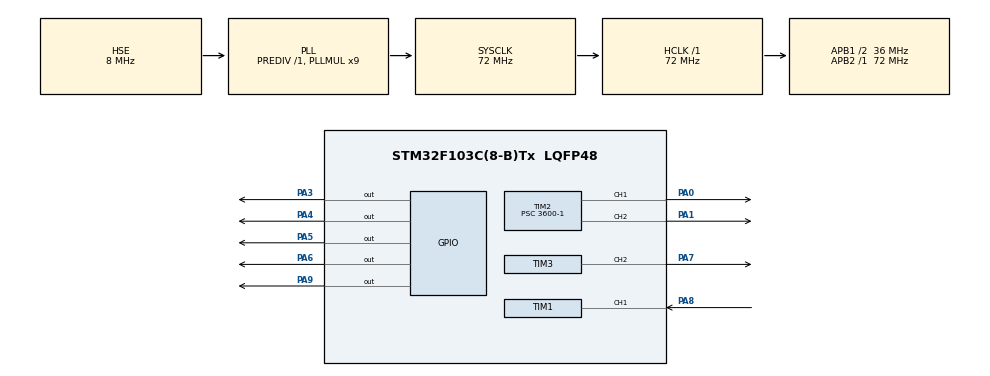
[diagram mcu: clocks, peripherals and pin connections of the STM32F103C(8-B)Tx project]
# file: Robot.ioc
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Mcu.Family=STM32F1
Mcu.Name=STM32F103C(8-B)Tx
Mcu.Package=LQFP48
NVIC.PriorityGroup=NVIC_PRIORITYGROUP_4
NVIC.TIM1_CC_IRQn=true\:0\:0\:true\:false\:true\:true\:true\:true
NVIC.TIM2_IRQn=true\:2\:0\:true\:false\:true\:true\:true\:true
NVIC.TIM3_IRQn=true\:3\:0\:true\:false\:true\:true\:true\:true
PA0-WKUP.Signal=S_TIM2_CH1_ETR
PA1.Signal=S_TIM2_CH2
PA13.Mode=Serial_Wire
PA13.Signal=SYS_JTMS-SWDIO
PA14.Mode=Serial_Wire
PA14.Signal=SYS_JTCK-SWCLK
PA3.Signal=GPIO_Output
PA4.Signal=GPIO_Output
PA5.Signal=GPIO_Output
PA6.Signal=GPIO_Output
PA7.Signal=S_TIM3_CH2
PA8.Signal=S_TIM1_CH1
PA9.Signal=GPIO_Output
PD0-OSC_IN.Mode=HSE-External-Oscillator
PD0-OSC_IN.Signal=RCC_OSC_IN
PD1-OSC_OUT.Mode=HSE-External-Oscillator
PD1-OSC_OUT.Signal=RCC_OSC_OUT
ProjectManager.HeapSize=0x200
ProjectManager.StackSize=0x400
ProjectManager.TargetToolchain=MDK-ARM V5.32
RCC.AHBFreq_Value=72000000
RCC.APB1CLKDivider=RCC_HCLK_DIV2
RCC.APB1Freq_Value=36000000
RCC.APB1TimFreq_Value=72000000
RCC.APB2Freq_Value=72000000
RCC.APB2TimFreq_Value=72000000
RCC.HCLKFreq_Value=72000000
RCC.PLLMUL=RCC_PLL_MUL9
RCC.PLLSourceVirtual=RCC_PLLSOURCE_HSE
RCC.SYSCLKFreq_VALUE=72000000
RCC.SYSCLKSource=RCC_SYSCLKSOURCE_PLLCLK
RCC.USBFreq_Value=72000000
SH.S_TIM1_CH1.0=TIM1_CH1,Input_Capture1_from_TI1
SH.S_TIM2_CH1_ETR.0=TIM2_CH1,PWM Generation1 CH1
SH.S_TIM2_CH2.0=TIM2_CH2,PWM Generation2 CH2
SH.S_TIM3_CH2.0=TIM3_CH2,PWM Generation2 CH2
TIM1.Channel-Input_Capture1_from_TI1=TIM_CHANNEL_1
TIM1.Period=0xffff-1
TIM1.Prescaler=72-1
TIM2.Channel-PWM\ Generation1\ CH1=TIM_CHANNEL_1
TIM2.Channel-PWM\ Generation2\ CH2=TIM_CHANNEL_2
TIM2.Period=1000-1
TIM2.Prescaler=3600-1
TIM2.Pulse-PWM\ Generation1\ CH1=0
TIM3.Channel-PWM\ Generation2\ CH2=TIM_CHANNEL_2
TIM3.Period=4499
TIM3.Prescaler=320
VP_TIM1_VS_ClockSourceINT.Mode=Internal
VP_TIM2_VS_ClockSourceINT.Mode=Internal
VP_TIM3_VS_ClockSourceINT.Mode=Internal
board=custom

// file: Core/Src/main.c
/* USER CODE BEGIN Header */
/**
  ******************************************************************************
  * @file           : main.c
  * @brief          : Main program body
  ******************************************************************************
  * @attention
  *
  * Copyright (c) 2023 STMicroelectronics.
  * All rights reserved.
  *
  * This software is licensed under terms that can be found in the LICENSE file
  * in the root directory of this software component.
  * If no LICENSE file comes with this software, it is provided AS-IS.
  *
  ******************************************************************************
  */
/* USER CODE END Header */
#include "main.h"

TIM_HandleTypeDef htim1;
TIM_HandleTypeDef htim2;
TIM_HandleTypeDef htim3;

void SystemClock_Config(void);
static void MX_GPIO_Init(void);
static void MX_TIM1_Init(void);
static void MX_TIM2_Init(void);
static void MX_TIM3_Init(void);
void delay (uint16_t time)
{
	__HAL_TIM_SET_COUNTER(&htim1, 0);
	while (__HAL_TIM_GET_COUNTER (&htim1) < time);
}

uint32_t IC_Val1 = 0;
uint32_t IC_Val2 = 0;
uint32_t Difference = 0;
uint8_t Is_First_Captured = 0;  // is the first value captured ?
uint8_t Distance  = 0;
char dist[10];

#define TRIG_PIN GPIO_PIN_9
#define TRIG_PORT GPIOA

// Let's write the callback function

void HAL_TIM_IC_CaptureCallback(TIM_HandleTypeDef *htim)
{
	if (htim->Channel == HAL_TIM_ACTIVE_CHANNEL_1)  // if the interrupt source is channel1
	{
		if (Is_First_Captured==0) // if the first value is not captured
		{
			IC_Val1 = HAL_TIM_ReadCapturedValue(htim, TIM_CHANNEL_1); // read the first value
			Is_First_Captured = 1;  // set the first captured as true
			// Now change the polarity to falling edge
			__HAL_TIM_SET_CAPTUREPOLARITY(htim, TIM_CHANNEL_1, TIM_INPUTCHANNELPOLARITY_FALLING);
		}

		else if (Is_First_Captured==1)   // if the first is already captured
		{
			IC_Val2 = HAL_TIM_ReadCapturedValue(htim, TIM_CHANNEL_1);  // read second value
			__HAL_TIM_SET_COUNTER(htim, 0);  // reset the counter

			if (IC_Val2 > IC_Val1)
			{
				Difference = IC_Val2-IC_Val1;
			}

			else if (IC_Val1 > IC_Val2)
			{
				Difference = (0xffff - IC_Val1) + IC_Val2;
			}

			Distance = Difference * .034/2;
			Is_First_Captured = 0; // set it back to false

			// set polarity to rising edge
			__HAL_TIM_SET_CAPTUREPOLARITY(htim, TIM_CHANNEL_1, TIM_INPUTCHANNELPOLARITY_RISING);
			__HAL_TIM_DISABLE_IT(&htim1, TIM_IT_CC1);
		}
	}
}

uint8_t HCSR05_Read (void)
{
	HAL_GPIO_WritePin(TRIG_PORT, TRIG_PIN, GPIO_PIN_SET);  // pull the TRIG pin HIGH
	delay(10);  // wait for 10 us
	HAL_GPIO_WritePin(TRIG_PORT, TRIG_PIN, GPIO_PIN_RESET);  // pull the TRIG pin low

	__HAL_TIM_ENABLE_IT(&htim1, TIM_IT_CC1);
	return Distance;
}

uint8_t Max_dist = 150;

#define MOTOR_ENB_PIN   GPIO_PIN_0
#define MOTOR_ENB_PORT  GPIOA
#define MOTOR_ENA_PIN   GPIO_PIN_1
#define MOTOR_ENA_PORT  GPIOA
#define IN1_PIN GPIO_PIN_3
#define IN1_PORT GPIOA
#define IN2_PIN GPIO_PIN_4
#define IN2_PORT GPIOA
#define IN3_PIN GPIO_PIN_5
#define IN3_PORT GPIOA
#define IN4_PIN GPIO_PIN_6
#define IN4_PORT GPIOA

void Motor_Stop(void) {
    HAL_GPIO_WritePin(IN1_PORT, IN1_PIN, GPIO_PIN_RESET);
    HAL_GPIO_WritePin(IN2_PORT, IN2_PIN, GPIO_PIN_RESET);
    HAL_GPIO_WritePin(IN3_PORT, IN3_PIN, GPIO_PIN_RESET);
    HAL_GPIO_WritePin(IN4_PORT, IN4_PIN, GPIO_PIN_RESET);
}

// Hàm di?u khi?n d?ng co ti?n
void Motor_Forward(uint16_t speed) {
    HAL_GPIO_WritePin(IN1_PORT, IN1_PIN, GPIO_PIN_SET);
    HAL_GPIO_WritePin(IN2_PORT, IN2_PIN, GPIO_PIN_RESET);
    HAL_GPIO_WritePin(IN3_PORT, IN3_PIN, GPIO_PIN_RESET);
    HAL_GPIO_WritePin(IN4_PORT, IN4_PIN, GPIO_PIN_SET);
    __HAL_TIM_SET_COMPARE(&htim2, TIM_CHANNEL_1, speed);
    __HAL_TIM_SET_COMPARE(&htim2, TIM_CHANNEL_2, speed);
}

// Hàm dieu khien dong co lùi
void Motor_Reverse(uint16_t speed) {
    HAL_GPIO_WritePin(IN1_PORT, IN1_PIN, GPIO_PIN_RESET);
    HAL_GPIO_WritePin(IN2_PORT, IN2_PIN, GPIO_PIN_SET);
    HAL_GPIO_WritePin(IN3_PORT, IN3_PIN, GPIO_PIN_SET);
    HAL_GPIO_WritePin(IN4_PORT, IN4_PIN, GPIO_PIN_RESET);
    __HAL_TIM_SET_COMPARE(&htim2, TIM_CHANNEL_1, speed);
    __HAL_TIM_SET_COMPARE(&htim2, TIM_CHANNEL_2, speed);
}

// Hàm di?u khi?n d?ng co quay trái
void Motor_Left(uint16_t speed) {
	  __HAL_TIM_SET_COMPARE(&htim2, TIM_CHANNEL_1, 600);
    __HAL_TIM_SET_COMPARE(&htim2, TIM_CHANNEL_2, 1000);

    HAL_GPIO_WritePin(IN1_PORT, IN1_PIN, GPIO_PIN_RESET);
    HAL_GPIO_WritePin(IN2_PORT, IN2_PIN, GPIO_PIN_SET);
    HAL_GPIO_WritePin(IN3_PORT, IN3_PIN, GPIO_PIN_RESET);
    HAL_GPIO_WritePin(IN4_PORT, IN4_PIN, GPIO_PIN_SET);

	  HAL_Delay(650);
	 __HAL_TIM_SET_COMPARE(&htim2, TIM_CHANNEL_1, speed);
   __HAL_TIM_SET_COMPARE(&htim2, TIM_CHANNEL_2, speed);

	  HAL_GPIO_WritePin(IN1_PORT, IN1_PIN, GPIO_PIN_SET);
    HAL_GPIO_WritePin(IN2_PORT, IN2_PIN, GPIO_PIN_RESET);
    HAL_GPIO_WritePin(IN3_PORT, IN3_PIN, GPIO_PIN_RESET);
    HAL_GPIO_WritePin(IN4_PORT, IN4_PIN, GPIO_PIN_SET);
}

// Hàm di?u khi?n d?ng co quay ph?i
void Motor_Right(uint16_t speed) {
	  __HAL_TIM_SET_COMPARE(&htim2, TIM_CHANNEL_1, 1000);
    __HAL_TIM_SET_COMPARE(&htim2, TIM_CHANNEL_2, 600);

    HAL_GPIO_WritePin(IN1_PORT, IN1_PIN, GPIO_PIN_SET);
    HAL_GPIO_WritePin(IN2_PORT, IN2_PIN, GPIO_PIN_RESET);
    HAL_GPIO_WritePin(IN3_PORT, IN3_PIN, GPIO_PIN_SET);
    HAL_GPIO_WritePin(IN4_PORT, IN4_PIN, GPIO_PIN_RESET);

	  HAL_Delay(650);
	 __HAL_TIM_SET_COMPARE(&htim2, TIM_CHANNEL_1, speed);
   __HAL_TIM_SET_COMPARE(&htim2, TIM_CHANNEL_2, speed);

	  HAL_GPIO_WritePin(IN1_PORT, IN1_PIN, GPIO_PIN_SET);
    HAL_GPIO_WritePin(IN2_PORT, IN2_PIN, GPIO_PIN_RESET);
    HAL_GPIO_WritePin(IN3_PORT, IN3_PIN, GPIO_PIN_RESET);
    HAL_GPIO_WritePin(IN4_PORT, IN4_PIN, GPIO_PIN_SET);
}

int main(void)
{

  /* MCU Configuration--------------------------------------------------------*/

  /* Reset of all peripherals, Initializes the Flash interface and the Systick. */
  HAL_Init();

  /* Configure the system clock */
  SystemClock_Config();

  /* Initialize all configured peripherals */
  MX_GPIO_Init();
  MX_TIM1_Init();
  MX_TIM2_Init();
  MX_TIM3_Init();

  HAL_TIM_IC_Start_IT(&htim1, TIM_CHANNEL_1);
  HAL_TIM_PWM_Start(&htim3, TIM_CHANNEL_2);
  HAL_TIM_PWM_Start(&htim2, TIM_CHANNEL_1);
	HAL_TIM_PWM_Start(&htim2, TIM_CHANNEL_2);
  /* Infinite loop */
  /* USER CODE BEGIN WHILE */

	uint8_t d, l, r;

  while (1)
  {
		htim3.Instance->CCR2 = 315;
		d = HCSR05_Read();

		while (d == 0 || d > Max_dist){
       d = HCSR05_Read();
     }

		if(d < 23 && d > 0 ){

			  Motor_Stop();
			  HAL_Delay(300);

				htim3.Instance->CCR2 = 80;//Right
				r = HCSR05_Read();
				HAL_Delay(400);

				htim3.Instance->CCR2 = 315;

				htim3.Instance->CCR2 = 540; //Left
				l = HCSR05_Read();
				HAL_Delay(400);
			 	htim3.Instance->CCR2 = 315;

		   if(l <= 15 && r <= 15){
						Motor_Reverse(200);
						Motor_Stop();
			  	//break;
				}
			 if(l > r){
				  Motor_Left(200);
			  }
		  	else{
						Motor_Right(200);
				}
			}
		else{
			Motor_Forward(200);
		}
		HAL_Delay(200);

    /* USER CODE END WHILE */

  }
}
void SystemClock_Config(void)
{
  RCC_OscInitTypeDef RCC_OscInitStruct = {0};
  RCC_ClkInitTypeDef RCC_ClkInitStruct = {0};

  /** Initializes the RCC Oscillators according to the specified parameters
  * in the RCC_OscInitTypeDef structure.
  */
  RCC_OscInitStruct.OscillatorType = RCC_OSCILLATORTYPE_HSE;
  RCC_OscInitStruct.HSEState = RCC_HSE_ON;
  RCC_OscInitStruct.HSEPredivValue = RCC_HSE_PREDIV_DIV1;
  RCC_OscInitStruct.HSIState = RCC_HSI_ON;
  RCC_OscInitStruct.PLL.PLLState = RCC_PLL_ON;
  RCC_OscInitStruct.PLL.PLLSource = RCC_PLLSOURCE_HSE;
  RCC_OscInitStruct.PLL.PLLMUL = RCC_PLL_MUL9;
  if (HAL_RCC_OscConfig(&RCC_OscInitStruct) != HAL_OK)
  {
    Error_Handler();
  }

  /** Initializes the CPU, AHB and APB buses clocks
  */
  RCC_ClkInitStruct.ClockType = RCC_CLOCKTYPE_HCLK|RCC_CLOCKTYPE_SYSCLK
                              |RCC_CLOCKTYPE_PCLK1|RCC_CLOCKTYPE_PCLK2;
  RCC_ClkInitStruct.SYSCLKSource = RCC_SYSCLKSOURCE_PLLCLK;
  RCC_ClkInitStruct.AHBCLKDivider = RCC_SYSCLK_DIV1;
  RCC_ClkInitStruct.APB1CLKDivider = RCC_HCLK_DIV2;
  RCC_ClkInitStruct.APB2CLKDivider = RCC_HCLK_DIV1;

  if (HAL_RCC_ClockConfig(&RCC_ClkInitStruct, FLASH_LATENCY_2) != HAL_OK)
  {
    Error_Handler();
  }
}

static void MX_TIM1_Init(void)
{

  TIM_ClockConfigTypeDef sClockSourceConfig = {0};
  TIM_MasterConfigTypeDef sMasterConfig = {0};
  TIM_IC_InitTypeDef sConfigIC = {0};

  htim1.Instance = TIM1;
  htim1.Init.Prescaler = 72-1;
  htim1.Init.CounterMode = TIM_COUNTERMODE_UP;
  htim1.Init.Period = 0xffff-1;
  htim1.Init.ClockDivision = TIM_CLOCKDIVISION_DIV1;
  htim1.Init.RepetitionCounter = 0;
  htim1.Init.AutoReloadPreload = TIM_AUTORELOAD_PRELOAD_DISABLE;
  if (HAL_TIM_Base_Init(&htim1) != HAL_OK)
  {
    Error_Handler();
  }
  sClockSourceConfig.ClockSource = TIM_CLOCKSOURCE_INTERNAL;
  if (HAL_TIM_ConfigClockSource(&htim1, &sClockSourceConfig) != HAL_OK)
  {
    Error_Handler();
  }
  if (HAL_TIM_IC_Init(&htim1) != HAL_OK)
  {
    Error_Handler();
  }
  sMasterConfig.MasterOutputTrigger = TIM_TRGO_RESET;
  sMasterConfig.MasterSlaveMode = TIM_MASTERSLAVEMODE_DISABLE;
  if (HAL_TIMEx_MasterConfigSynchronization(&htim1, &sMasterConfig) != HAL_OK)
  {
    Error_Handler();
  }
  sConfigIC.ICPolarity = TIM_INPUTCHANNELPOLARITY_RISING;
  sConfigIC.ICSelection = TIM_ICSELECTION_DIRECTTI;
  sConfigIC.ICPrescaler = TIM_ICPSC_DIV1;
  sConfigIC.ICFilter = 0;
  if (HAL_TIM_IC_ConfigChannel(&htim1, &sConfigIC, TIM_CHANNEL_1) != HAL_OK)
  {
    Error_Handler();
  }

}

static void MX_TIM2_Init(void)
{

  TIM_ClockConfigTypeDef sClockSourceConfig = {0};
  TIM_MasterConfigTypeDef sMasterConfig = {0};
  TIM_OC_InitTypeDef sConfigOC = {0};

  htim2.Instance = TIM2;
  htim2.Init.Prescaler = 3600-1;
  htim2.Init.CounterMode = TIM_COUNTERMODE_UP;
  htim2.Init.Period = 1000-1;
  htim2.Init.ClockDivision = TIM_CLOCKDIVISION_DIV1;
  htim2.Init.AutoReloadPreload = TIM_AUTORELOAD_PRELOAD_DISABLE;
  if (HAL_TIM_Base_Init(&htim2) != HAL_OK)
  {
    Error_Handler();
  }
  sClockSourceConfig.ClockSource = TIM_CLOCKSOURCE_INTERNAL;
  if (HAL_TIM_ConfigClockSource(&htim2, &sClockSourceConfig) != HAL_OK)
  {
    Error_Handler();
  }
  if (HAL_TIM_PWM_Init(&htim2) != HAL_OK)
  {
    Error_Handler();
  }
  sMasterConfig.MasterOutputTrigger = TIM_TRGO_RESET;
  sMasterConfig.MasterSlaveMode = TIM_MASTERSLAVEMODE_DISABLE;
  if (HAL_TIMEx_MasterConfigSynchronization(&htim2, &sMasterConfig) != HAL_OK)
  {
    Error_Handler();
  }
  sConfigOC.OCMode = TIM_OCMODE_PWM1;
  sConfigOC.Pulse = 0;
  sConfigOC.OCPolarity = TIM_OCPOLARITY_HIGH;
  sConfigOC.OCFastMode = TIM_OCFAST_DISABLE;
  if (HAL_TIM_PWM_ConfigChannel(&htim2, &sConfigOC, TIM_CHANNEL_1) != HAL_OK)
  {
    Error_Handler();
  }
  if (HAL_TIM_PWM_ConfigChannel(&htim2, &sConfigOC, TIM_CHANNEL_2) != HAL_OK)
  {
    Error_Handler();
  }
  HAL_TIM_MspPostInit(&htim2);

}

static void MX_TIM3_Init(void)
{

  TIM_ClockConfigTypeDef sClockSourceConfig = {0};
  TIM_MasterConfigTypeDef sMasterConfig = {0};
  TIM_OC_InitTypeDef sConfigOC = {0};

  htim3.Instance = TIM3;
  htim3.Init.Prescaler = 320;
  htim3.Init.CounterMode = TIM_COUNTERMODE_UP;
  htim3.Init.Period = 4499;
  htim3.Init.ClockDivision = TIM_CLOCKDIVISION_DIV1;
  htim3.Init.AutoReloadPreload = TIM_AUTORELOAD_PRELOAD_DISABLE;
  if (HAL_TIM_Base_Init(&htim3) != HAL_OK)
  {
    Error_Handler();
  }
  sClockSourceConfig.ClockSource = TIM_CLOCKSOURCE_INTERNAL;
  if (HAL_TIM_ConfigClockSource(&htim3, &sClockSourceConfig) != HAL_OK)
  {
    Error_Handler();
  }
  if (HAL_TIM_PWM_Init(&htim3) != HAL_OK)
  {
    Error_Handler();
  }
  sMasterConfig.MasterOutputTrigger = TIM_TRGO_RESET;
  sMasterConfig.MasterSlaveMode = TIM_MASTERSLAVEMODE_DISABLE;
  if (HAL_TIMEx_MasterConfigSynchronization(&htim3, &sMasterConfig) != HAL_OK)
  {
    Error_Handler();
  }
  sConfigOC.OCMode = TIM_OCMODE_PWM1;
  sConfigOC.Pulse = 0;
  sConfigOC.OCPolarity = TIM_OCPOLARITY_HIGH;
  sConfigOC.OCFastMode = TIM_OCFAST_DISABLE;
  if (HAL_TIM_PWM_ConfigChannel(&htim3, &sConfigOC, TIM_CHANNEL_2) != HAL_OK)
  {
    Error_Handler();
  }
  HAL_TIM_MspPostInit(&htim3);

}

static void MX_GPIO_Init(void)
{
  GPIO_InitTypeDef GPIO_InitStruct = {0};

  /* GPIO Ports Clock Enable */
  __HAL_RCC_GPIOD_CLK_ENABLE();
  __HAL_RCC_GPIOA_CLK_ENABLE();

  /*Configure GPIO pin Output Level */
  HAL_GPIO_WritePin(GPIOA, GPIO_PIN_3|GPIO_PIN_4|GPIO_PIN_5|GPIO_PIN_6
                          |GPIO_PIN_9, GPIO_PIN_RESET);

  /*Configure GPIO pins : PA3 PA4 PA5 PA6
                           PA9 */
  GPIO_InitStruct.Pin = GPIO_PIN_3|GPIO_PIN_4|GPIO_PIN_5|GPIO_PIN_6
                          |GPIO_PIN_9;
  GPIO_InitStruct.Mode = GPIO_MODE_OUTPUT_PP;
  GPIO_InitStruct.Pull = GPIO_NOPULL;
  GPIO_InitStruct.Speed = GPIO_SPEED_FREQ_LOW;
  HAL_GPIO_Init(GPIOA, &GPIO_InitStruct);

}

void Error_Handler(void)
{
  __disable_irq();
  while (1)
  {
  }
}
